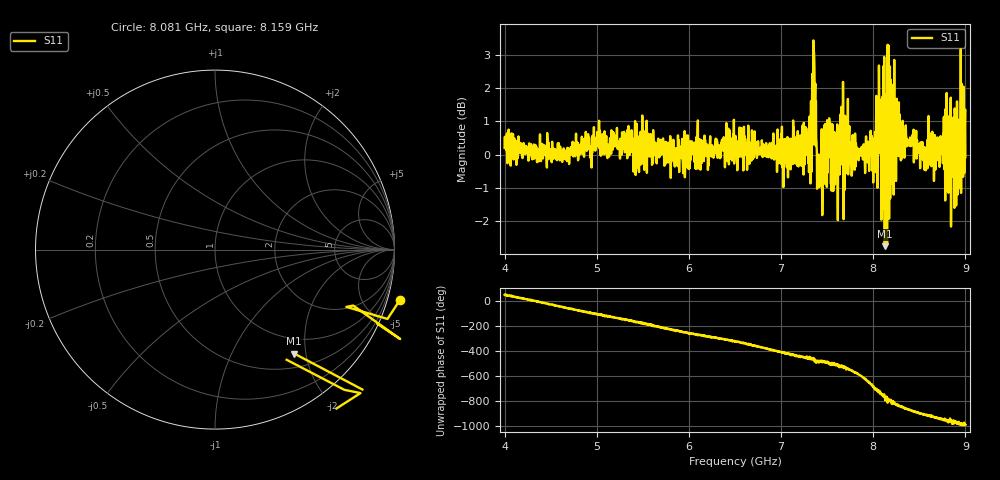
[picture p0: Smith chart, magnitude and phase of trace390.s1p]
! Created with skrf 1.8.0 (http://scikit-rf.org).
# Hz S RI R 50.0
!freq ReS11 ImS11
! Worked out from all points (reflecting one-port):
!   1601 points, 4 GHz to 9 GHz, reference 50 ohm
!   lowest |S11| = -2.8 dB at 8.125 GHz (marker M1), VSWR 6.37, Z = 36.2 - j89.5 ohm
!   phase of S11 starts at 51 deg and turns -1041 deg over the sweep
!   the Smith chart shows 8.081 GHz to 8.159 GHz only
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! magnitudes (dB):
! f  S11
! 4 GHz  0.2
! 4.625 GHz  -0.2
! 5.25 GHz  -0.1
! 5.875 GHz  0.0
! 6.5 GHz  0.2
! 7.125 GHz  0.2
! 7.306 GHz  0.5
! 7.347 GHz  2.0
! 7.359 GHz  3.0
! 7.409 GHz  0.0
! 7.538 GHz  0.9
! 7.591 GHz  0.3
! 7.65 GHz  0.5
! 7.75 GHz  0.0
! 8 GHz  -0.8
! 8.053 GHz  0.9
! 8.066 GHz  1.4
! 8.125 GHz  -2.8
! 8.134 GHz  0.1
! 8.147 GHz  0.5
! 8.156 GHz  3.3
! 8.197 GHz  0.4
! 8.375 GHz  0.4
! 8.569 GHz  -0.5
! 8.772 GHz  -0.4
! 8.869 GHz  -0.6
! 8.972 GHz  0.8
! 9 GHz  -0.1
